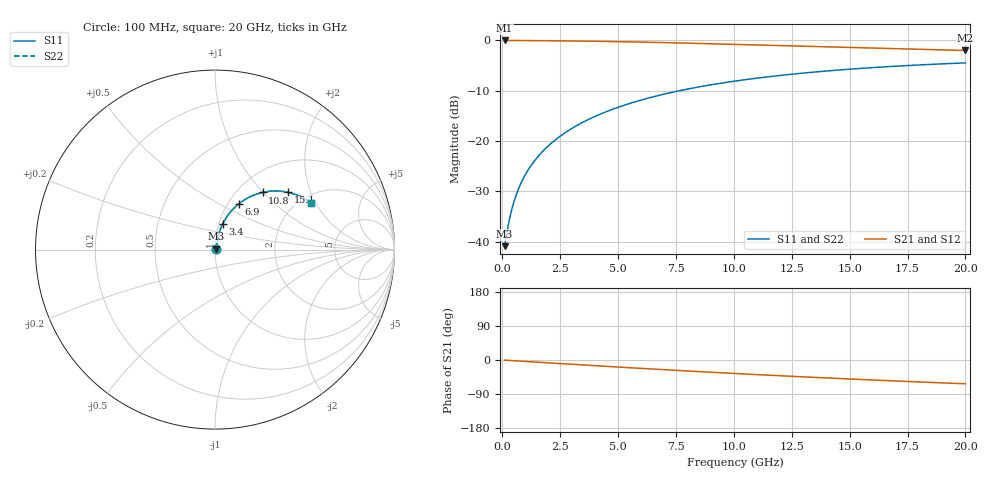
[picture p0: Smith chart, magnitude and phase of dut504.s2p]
! Touchstone file exported from HFSS 2026.1.0
!  File:  C:/ffzhzh/LocalFiles/Ansys_Project_Files/temp_train_TMRDL_504_1783006806_46388.aedt
!  Generated:  11:41:51 PM Jul  2, 2026
!  Design:  TMRDL
!  Project:  temp_train_TMRDL_504_1783006806_46388
! Variables:
!  h_bsmrdl = 2um
!  h_ox = 20um
!  h_rdl = 5um
!  h_sub = 80um
!  h_tmrdl = 2.42um
!  h_tsv = 80um
!  h_via = 3um
!  l_bsmrdl = 300um
!  l_sub = 1339.9um
!  l_tmrdl = 939.9um
!  m_sub = 200um
!  pitch = 53.8um
!  r_tsv = 6um
!  s_tmrdl = 10um
!  w_bsmrdl = 18um
!  w_sub = 500um
!  w_tmrdl = 18.13um
!  x_tsv_center1 = 948.965um
!  x_tsv_center2 = 1266.965um
!  x_tsv_center3 = 2224.995um
!  x_tsv_center4 = 2542.995um
!  x_tsv_center5 = 3501.025um
!  x_tsv_center6 = 3819.025um
# GHz S MA R 50.000000
! Terminal data exported
! Port[1] = TM_RDL1_1_T1
! Port[2] = TM_RDL1_1_T2
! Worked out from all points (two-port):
!   200 points, 100 MHz to 20 GHz, reference 50 ohm
!   highest |S21| = -0.07 dB at 100 MHz (marker M1); lowest = -2.0 dB at 20 GHz (marker M2)
!   |S21| within 3 dB of the highest: start of sweep to end of sweep
!   lowest |S11| = -40.9 dB at 100 MHz (marker M3), VSWR 1.02, Z = 50.8 + j0.482 ohm
!   |S11| at or under -10 dB: start of sweep to 7.687 GHz
!   |S22| runs from -40.9 to -4.5 dB; largest |S21 - S12| = 2.6e-15
!   S11 on the Smith chart (normalised r, x): 100 MHz: 1.02, +0.01; 3.4 GHz: 1.04, +0.31; 6.9 GHz: 1.12, +0.63; 10.8 GHz: 1.29, +0.99; 15.1 GHz: 1.61, +1.41; 20 GHz: 2.27, +1.83
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0.1  0.009056 31.6  0.9923 -0.4  0.9923 -0.4  0.009056 31.6
! Gamma 0 0 0 0
! Port Impedance 50 0 50 0
0.3  0.01634 59.5  0.9919 -1.2  0.9919 -1.2  0.01634 59.5
0.4  0.02057 64.9  0.9916 -1.6  0.9916 -1.6  0.02057 64.9
0.5  0.02488 68.2  0.9913 -2.0  0.9913 -2.0  0.02488 68.2
0.6  0.02921 70.5  0.991 -2.3  0.991 -2.3  0.02921 70.5
0.8  0.03788 73.2  0.9904 -3.1  0.9904 -3.1  0.03788 73.2
1.1  0.05089 75.3  0.9895 -4.2  0.9895 -4.2  0.05089 75.3
1.6  0.0726 76.3  0.9878 -6.1  0.9878 -6.1  0.0726 76.3
2.1  0.0943 76.1  0.9858 -8.0  0.9858 -8.0  0.0943 76.1
2.7  0.1202 75.0  0.9828 -10.2  0.9828 -10.2  0.1202 75.0
3.4  0.15 73.3  0.9785 -12.8  0.9785 -12.8  0.15 73.3
3.5  0.1542 73.0  0.9778 -13.1  0.9778 -13.1  0.1542 73.0
5  0.2157 68.6  0.9657 -18.6  0.9657 -18.6  0.2157 68.5
6.8  0.2846 62.8  0.9472 -24.9  0.9472 -24.9  0.2846 62.7
6.9  0.2882 62.5  0.9461 -25.3  0.9461 -25.3  0.2882 62.4
8.4  0.3405 57.7  0.9282 -30.3  0.9282 -30.3  0.3405 57.6
10.1  0.394 52.4  0.9065 -35.8  0.9065 -35.8  0.394 52.3
10.8  0.4143 50.3  0.8973 -38.0  0.8973 -38.0  0.4143 50.2
13.4  0.4807 42.8  0.8634 -45.7  0.8634 -45.7  0.4807 42.7
15.1  0.517 38.2  0.8422 -50.4  0.8422 -50.4  0.517 38.1
16.7  0.5465 34.0  0.8235 -54.6  0.8235 -54.6  0.5465 33.9
20  0.5947 26.0  0.7899 -62.8  0.7899 -62.8  0.5947 25.9
